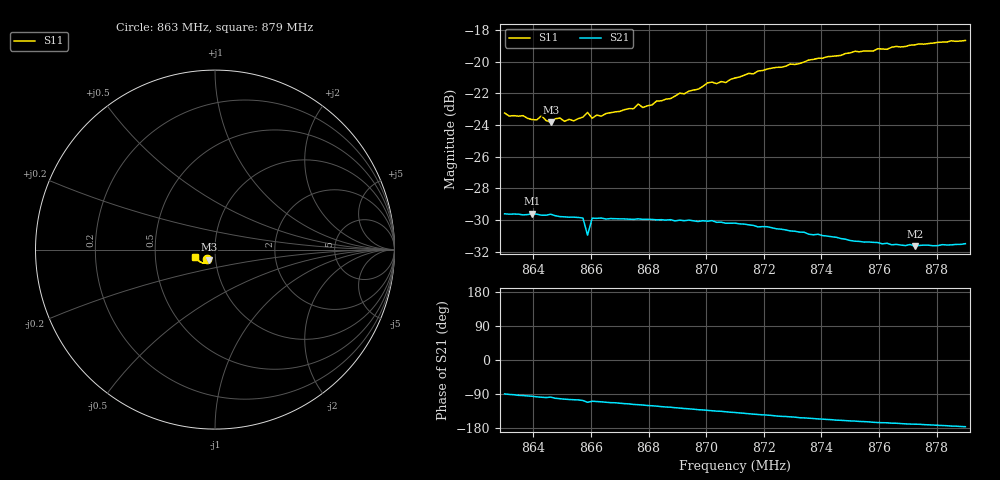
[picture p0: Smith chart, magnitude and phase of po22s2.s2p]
# HZ S RI R 50
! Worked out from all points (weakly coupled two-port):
!   101 points, 863 MHz to 879 MHz, reference 50 ohm
!   highest |S21| = -29.61 dB at 863.96 MHz (marker M1); lowest = -31.7 dB at 877.24 MHz (marker M2)
!   lowest |S11| = -23.8 dB at 864.6 MHz (marker M3), VSWR 1.14, Z = 46.6 - j5.18 ohm
!   |S11| at or under -10 dB: start of sweep to end of sweep
!   S12 and S22 are empty: the file has one direction only
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8.63e8  -0.0442 -0.0527  0.000304 -0.0331  0 0  0 0
8.6396e8  -0.0384 -0.0532  -0.00329 -0.0329  0 0  0 0
8.6412e8  -0.0382 -0.0532  -0.00413 -0.0327  0 0  0 0
8.6428e8  -0.0382 -0.0556  -0.00469 -0.0324  0 0  0 0
8.646e8  -0.0327 -0.0554  -0.00457 -0.0326  0 0  0 0
8.6476e8  -0.0375 -0.0543  -0.00622 -0.032  0 0  0 0
8.6508e8  -0.0349 -0.0545  -0.00747 -0.0315  0 0  0 0
8.6572e8  -0.0341 -0.0574  -0.00933 -0.0307  0 0  0 0
8.6588e8  -0.0382 -0.0576  -0.0104 -0.0263  0 0  0 0
8.6604e8  -0.0327 -0.0576  -0.0103 -0.0303  0 0  0 0
8.6748e8  -0.0338 -0.0624  -0.0145 -0.0282  0 0  0 0
8.6764e8  -0.0357 -0.0642  -0.015 -0.0282  0 0  0 0
8.678e8  -0.0345 -0.0628  -0.0153 -0.0278  0 0  0 0
8.6844e8  -0.0355 -0.0663  -0.0173 -0.0266  0 0  0 0
8.6972e8  -0.0404 -0.0712  -0.0205 -0.0236  0 0  0 0
8.7004e8  -0.0438 -0.0736  -0.0213 -0.023  0 0  0 0
8.7068e8  -0.0452 -0.073  -0.0224 -0.0212  0 0  0 0
8.71e8  -0.0479 -0.0747  -0.0231 -0.0205  0 0  0 0
8.7372e8  -0.0688 -0.0747  -0.0256 -0.0122  0 0  0 0
8.7644e8  -0.0928 -0.061  -0.0257 -0.00606  0 0  0 0
8.7724e8  -0.0989 -0.0546  -0.0257 -0.0048  0 0  0 0
8.79e8  -0.1098 -0.0393  -0.0265 -0.00185  0 0  0 0
